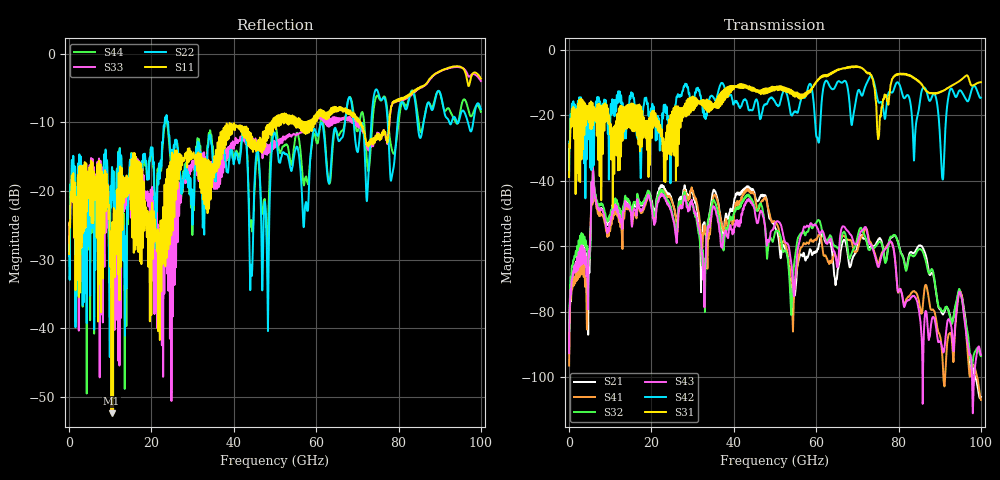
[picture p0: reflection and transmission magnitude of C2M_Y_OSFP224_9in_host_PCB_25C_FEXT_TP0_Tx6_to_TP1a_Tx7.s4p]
# GHz S RI R 45
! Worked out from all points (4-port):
!   4000 points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, 25 MHz to 100 GHz, reference 45 ohm
!   strongest paths, dB at 25 MHz, 25.02 GHz, 50.02 GHz, 75.03 GHz, 100 GHz:
!     S31: -38.9, -18.9, -11.6, -27.1, -9.9
!     S42: -38.2, -30.2, -15.9, -15.6, -14.6
!     S43: -92.7, -50.6, -52.9, -66.3, -93.2
!     S32: -85.9, -49.6, -55.7, -59.0, -93.6
!     S41: -96.5, -46.4, -52.6, -65.3, -107.0
!     S21: -92.8, -46.0, -54.3, -58.1, -106.1
!   lowest |S11| = -52.4 dB at 10.32 GHz (marker M1), VSWR 1.00, Z = 44.9 + j0.174 ohm
!   |S11| at or under -10 dB: start of sweep to 49.26 GHz; 57.29 GHz to 57.61 GHz (325 MHz wide, 0.566 % of centre); 70.61 GHz to 77.76 GHz (7.157 GHz wide, 9.65 % of centre) (the widest 3 of 31)
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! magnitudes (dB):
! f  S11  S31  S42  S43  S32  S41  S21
! 25 MHz  -29.2  -38.9  -38.2  -92.7  -85.9  -96.5  -92.8
! 4.35 GHz  -23.0  -20.1  -27.9  -67.0  -60.5  -85.5  -66.5
! 5.85 GHz  -23.7  -23.0  -24.2  -36.6  -36.5  -37.0  -36.8
! 10.32 GHz  -52.4  -29.7  -19.6  -51.6  -49.4  -53.4  -50.7
! 73.33 GHz  -12.6  -7.7  -8.0  -59.6  -60.6  -59.0  -60.1
! 90.67 GHz  -2.4  -12.5  -39.5  -91.4  -80.0  -94.2  -80.7
! 100 GHz  -3.6  -9.9  -14.6  -93.2  -93.6  -107.0  -106.1
